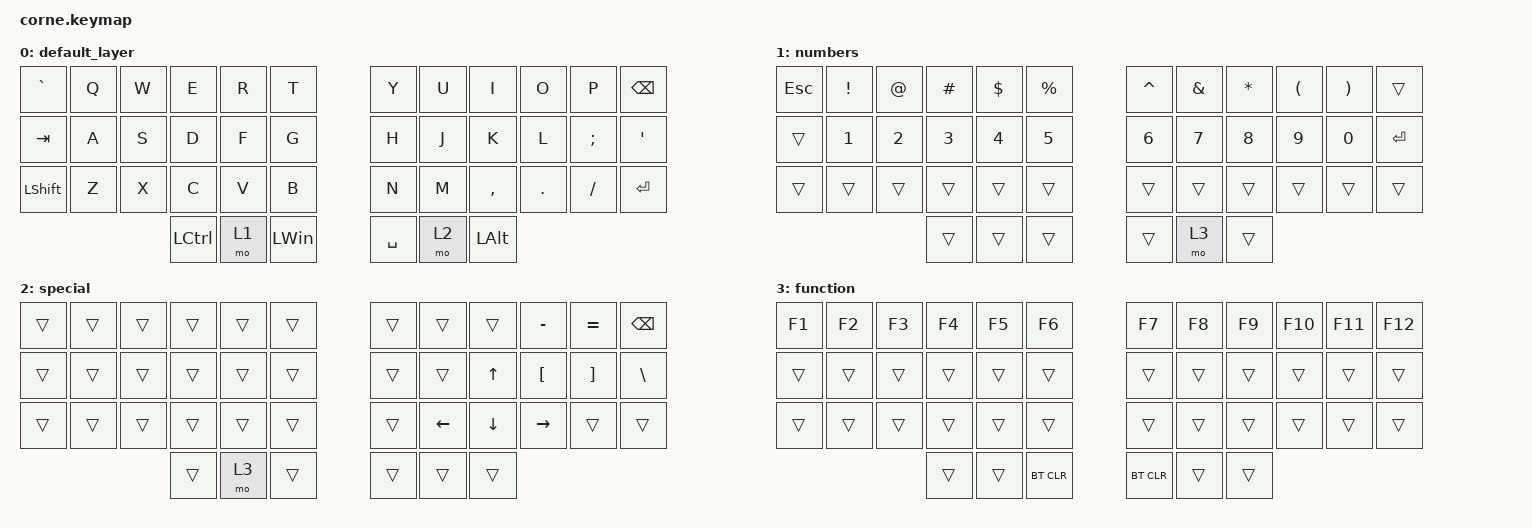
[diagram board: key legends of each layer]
/*
 * Copyright (c) 2020 The ZMK Contributors
 *
 * SPDX-License-Identifier: MIT
 */

#include <behaviors.dtsi>
#include <dt-bindings/zmk/bt.h>
#include <dt-bindings/zmk/keys.h>

/ {
    keymap {
        compatible = "zmk,keymap";

        default_layer {
            // -----------------------------------------------------------------------------------------
            // |  TAB |  Q  |  W  |  E  |  R  |  T  |   |  Y  |  U   |  I  |  O  |  P  | BSPC |
            // | CTRL |  A  |  S  |  D  |  F  |  G  |   |  H  |  J   |  K  |  L  |  ;  |  '   |
            // | SHFT |  Z  |  X  |  C  |  V  |  B  |   |  N  |  M   |  ,  |  .  |  /  | ESC  |
            //                    | GUI | LWR | SPC |   | ENT | RSE  | ALT |

            bindings = <
&kp GRAVE       &kp Q  &kp W  &kp E      &kp R  &kp T           &kp Y      &kp U  &kp I         &kp O    &kp P     &kp BACKSPACE
&kp TAB         &kp A  &kp S  &kp D      &kp F  &kp G           &kp H      &kp J  &kp K         &kp L    &kp SEMI  &kp SQT
&kp LEFT_SHIFT  &kp Z  &kp X  &kp C      &kp V  &kp B           &kp N      &kp M  &kp COMMA     &kp DOT  &kp FSLH  &kp ENTER
                              &kp LCTRL  &mo 1  &kp LEFT_WIN    &kp SPACE  &mo 2  &kp LEFT_ALT
            >;
        };

        numbers {
            // -----------------------------------------------------------------------------------------
            // |  TAB |  1  |  2  |  3  |  4  |  5  |   |  6  |  7  |  8  |  9  |  0  | BSPC |
            // | BTCLR| BT1 | BT2 | BT3 | BT4 | BT5 |   | LFT | DWN |  UP | RGT |     |      |
            // | SHFT |     |     |     |     |     |   |     |     |     |     |     |      |
            //                    | GUI |     | SPC |   | ENT |     | ALT |

            bindings = <
&kp ESCAPE  &kp EXCLAMATION  &kp AT_SIGN   &kp HASH      &kp DOLLAR    &kp PERCENT    &kp CARET     &kp AMPERSAND  &kp ASTERISK  &kp LEFT_PARENTHESIS  &kp RIGHT_PARENTHESIS  &trans
&trans      &kp NUMBER_1     &kp NUMBER_2  &kp NUMBER_3  &kp NUMBER_4  &kp N5         &kp NUMBER_6  &kp NUMBER_7   &kp N8        &kp N9                &kp N0                 &kp ENTER
&trans      &trans           &trans        &trans        &trans        &trans         &trans        &trans         &trans        &trans                &trans                 &trans
                                           &trans        &trans        &trans         &trans        &mo 3          &trans
            >;
        };

        special {
            bindings = <
&trans  &trans  &trans  &trans  &trans  &trans    &trans  &trans    &trans        &kp MINUS  &kp EQUAL  &kp BSPC
&trans  &trans  &trans  &trans  &trans  &trans    &trans  &trans    &kp UP_ARROW  &kp LBKT   &kp RBKT   &kp BSLH
&trans  &trans  &trans  &trans  &trans  &trans    &trans  &kp LEFT  &kp DOWN      &kp RIGHT  &trans     &trans
                        &trans  &mo 3   &trans    &trans  &trans    &trans
            >;
        };

        function {
            bindings = <
&kp F1  &kp F2  &kp F3  &kp F4  &kp F5  &kp F6        &kp F7      &kp F8  &kp F9  &kp F10  &kp F11  &kp F12
&trans  &trans  &trans  &trans  &trans  &trans        &trans      &trans  &trans  &trans   &trans   &trans
&trans  &trans  &trans  &trans  &trans  &trans        &trans      &trans  &trans  &trans   &trans   &trans
                        &trans  &trans  &bt BT_CLR    &bt BT_CLR  &trans  &trans
            >;
        };
    };
};
